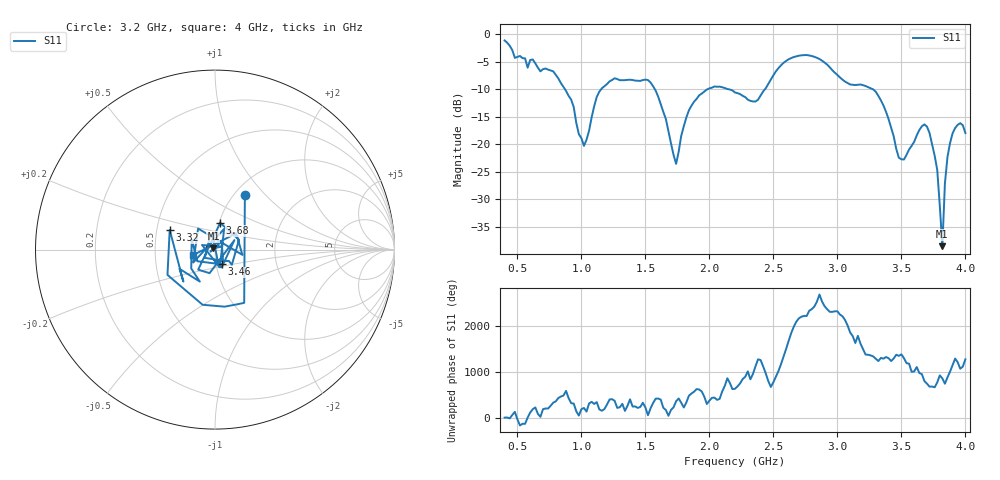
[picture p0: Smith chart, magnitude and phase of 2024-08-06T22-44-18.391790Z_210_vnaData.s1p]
!Created with skrf (http://scikit-rf.org).
# Hz S RI R 50.0
!freq ReS11 ImS11
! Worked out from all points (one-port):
!   181 points, 400 MHz to 4 GHz, reference 50 ohm
!   lowest |S11| = -38.5 dB at 3.82 GHz (marker M1), VSWR 1.02, Z = 49.1 + j0.778 ohm
!   |S11| at or under -10 dB: 871.5 MHz to 1.154 GHz (282.8 MHz wide, 27.9 % of centre); 1.574 GHz to 1.985 GHz (411.2 MHz wide, 23.1 % of centre); 3.277 GHz to end of sweep (the widest 3 of 4)
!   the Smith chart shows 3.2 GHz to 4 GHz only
!   S11 on the Smith chart (normalised r, x): 3.2 GHz: 1.12, +0.77; 3.32 GHz: 0.58, +0.14; 3.46 GHz: 1.06, -0.18; 3.68 GHz: 1.01, +0.31; 4 GHz: 0.78, -0.05
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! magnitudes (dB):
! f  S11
! 400 MHz  -1.1
! 860 MHz  -9.6
! 1.02 GHz  -20.3
! 1.14 GHz  -10.4
! 1.3 GHz  -8.4
! 1.54 GHz  -8.8
! 1.66 GHz  -15.4
! 1.74 GHz  -23.6
! 1.76 GHz  -21.3
! 1.84 GHz  -13.8
! 1.92 GHz  -11.1
! 2.2 GHz  -10.6
! 2.36 GHz  -12.2
! 2.66 GHz  -4.1
! 2.86 GHz  -4.5
! 3.1 GHz  -9.1
! 3.2 GHz  -9.3
! 3.32 GHz  -11.2
! 3.46 GHz  -20.8
! 3.52 GHz  -22.8
! 3.56 GHz  -21.0
! 3.68 GHz  -16.4
! 3.78 GHz  -24.6
! 3.82 GHz  -38.5
! 3.84 GHz  -27.1
! 3.88 GHz  -19.8
! 3.94 GHz  -16.5
! 4 GHz  -18.0
